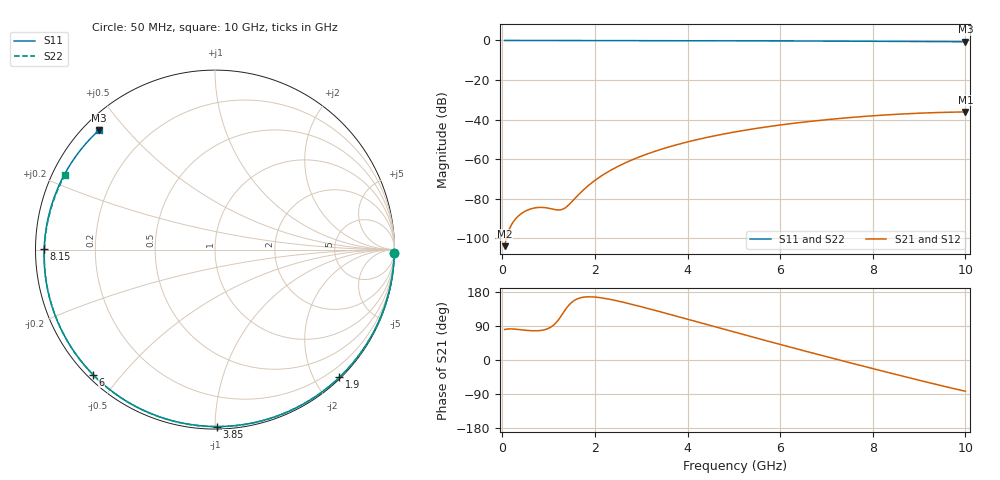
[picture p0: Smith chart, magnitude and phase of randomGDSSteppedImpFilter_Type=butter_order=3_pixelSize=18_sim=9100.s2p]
! freq	dB(S11)	phase(S11)	dB(S12)	phase(S12)
!  dB(S21)	phase(S21)	dB(S22)	phase(S22)
!S-par simulation data
#  GHz  S  DB  R 50
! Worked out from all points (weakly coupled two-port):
!   200 points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, 50 MHz to 10 GHz, reference 50 ohm
!   highest |S21| = -36.11 dB at 10 GHz (marker M1); lowest = -103.9 dB at 50 MHz (marker M2)
!   lowest |S11| = -0.7 dB at 10 GHz (marker M3), VSWR 26.65, Z = 2.21 + j21.2 ohm
!   |S11| at or under -10 dB: nowhere
!   |S22| runs from -0.6 to 0.0 dB; largest |S21 - S12| = 0
!   S11 on the Smith chart (normalised r, x): 50 MHz: 1, -96; 1.9 GHz: 0.02, -2.37; 3.85 GHz: 0.01, -1.01; 6 GHz: 0.02, -0.42; 8.15 GHz: 0.02, +0.00; 10 GHz: 0.04, +0.42
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0.05  -0.00 -1.2  -103.93 80.4  -103.93 80.4  -0.01 -1.2
0.75  -0.02 -18.3  -84.45 77.2  -84.45 77.2  -0.02 -18.4
1.15  -0.04 -28.0  -85.51 97.1  -85.51 97.1  -0.03 -28.1
1.55  -0.05 -37.5  -80.28 156.8  -80.28 156.8  -0.05 -37.6
1.75  -0.05 -42.2  -75.55 165.7  -75.55 165.7  -0.05 -42.3
1.9  -0.06 -45.7  -72.51 166.7  -72.51 166.7  -0.06 -45.8
2.2  -0.07 -52.7  -67.54 162.8  -67.54 162.8  -0.07 -52.7
2.55  -0.08 -60.7  -63.02 154.1  -63.02 154.1  -0.08 -60.6
2.95  -0.09 -69.7  -58.92 142.1  -58.92 142.1  -0.09 -69.4
3.4  -0.11 -79.7  -55.22 127.6  -55.22 127.6  -0.10 -79.1
3.85  -0.12 -89.4  -52.17 112.7  -52.17 112.7  -0.12 -88.6
4.45  -0.15 -102.2  -48.83 92.5  -48.83 92.5  -0.14 -100.8
5.05  -0.18 -114.7  -46.11 72.5  -46.11 72.5  -0.17 -112.5
6  -0.24 -134.3  -42.72 41.1  -42.72 41.1  -0.22 -130.6
6.7  -0.29 -148.9  -40.76 18.4  -40.76 18.4  -0.27 -143.5
7.45  -0.36 -164.8  -39.07 -5.5  -39.07 -5.5  -0.33 -157.3
8.15  -0.43 179.8  -37.83 -27.4  -37.83 -27.4  -0.39 -170.2
8.35  -0.45 175.2  -37.53 -33.6  -37.53 -33.6  -0.41 -174.0
8.8  -0.50 164.7  -36.96 -47.4  -36.96 -47.4  -0.46 177.5
9.2  -0.55 154.9  -36.57 -59.4  -36.57 -59.4  -0.50 169.7
9.6  -0.60 144.7  -36.29 -71.2  -36.29 -71.2  -0.55 161.7
10  -0.65 134.0  -36.11 -82.5  -36.11 -82.5  -0.60 153.4
